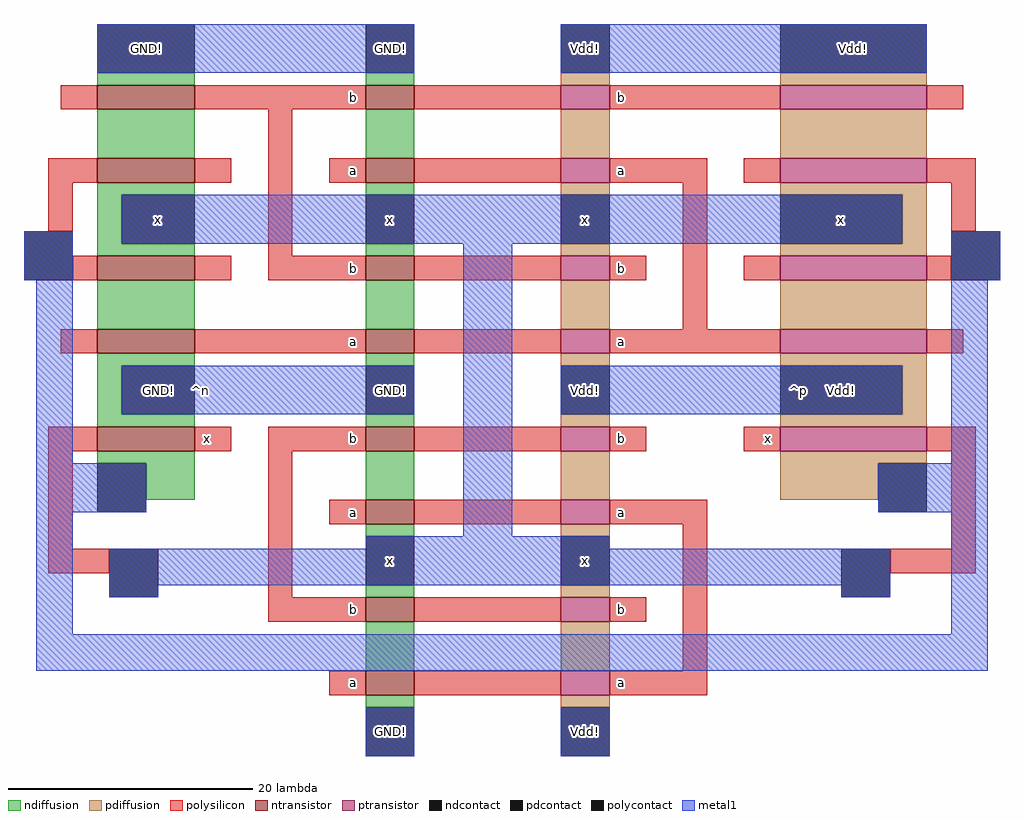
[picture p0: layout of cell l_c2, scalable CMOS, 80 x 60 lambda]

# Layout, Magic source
magic
tech scmos
<< ndiffusion >>
rect -19 68 -11 69
rect 3 68 7 69
rect -19 62 -11 66
rect -19 59 -11 60
rect -19 55 -17 59
rect -19 54 -11 55
rect 3 62 7 66
rect 3 59 7 60
rect 3 54 7 55
rect -19 48 -11 52
rect 3 48 7 52
rect -19 45 -11 46
rect -19 41 -17 45
rect -19 40 -11 41
rect 3 45 7 46
rect 3 40 7 41
rect -19 37 -11 38
rect -15 34 -11 37
rect 3 34 7 38
rect 3 31 7 32
rect 3 26 7 27
rect 3 20 7 24
rect 3 17 7 18
<< pdiffusion >>
rect 19 68 23 69
rect 37 68 49 69
rect 19 62 23 66
rect 37 62 49 66
rect 19 59 23 60
rect 19 54 23 55
rect 19 48 23 52
rect 37 59 49 60
rect 47 55 49 59
rect 37 54 49 55
rect 37 48 49 52
rect 19 45 23 46
rect 19 40 23 41
rect 37 45 49 46
rect 47 41 49 45
rect 37 40 49 41
rect 19 34 23 38
rect 37 37 49 38
rect 37 34 45 37
rect 19 31 23 32
rect 19 26 23 27
rect 19 20 23 24
rect 19 17 23 18
<< ntransistor >>
rect -19 66 -11 68
rect 3 66 7 68
rect -19 60 -11 62
rect 3 60 7 62
rect -19 52 -11 54
rect 3 52 7 54
rect -19 46 -11 48
rect 3 46 7 48
rect -19 38 -11 40
rect 3 38 7 40
rect 3 32 7 34
rect 3 24 7 26
rect 3 18 7 20
<< ptransistor >>
rect 19 66 23 68
rect 37 66 49 68
rect 19 60 23 62
rect 37 60 49 62
rect 19 52 23 54
rect 37 52 49 54
rect 19 46 23 48
rect 37 46 49 48
rect 19 38 23 40
rect 37 38 49 40
rect 19 32 23 34
rect 19 24 23 26
rect 19 18 23 20
<< polysilicon >>
rect -22 66 -19 68
rect -11 66 3 68
rect 7 66 19 68
rect 23 66 37 68
rect 49 66 52 68
rect -23 60 -19 62
rect -11 60 -8 62
rect -23 56 -21 60
rect -5 54 -3 66
rect 0 60 3 62
rect 7 60 19 62
rect 23 60 31 62
rect 34 60 37 62
rect 49 60 53 62
rect -21 52 -19 54
rect -11 52 -8 54
rect -5 52 3 54
rect 7 52 19 54
rect 23 52 26 54
rect 29 48 31 60
rect 51 56 53 60
rect 34 52 37 54
rect 49 52 51 54
rect -22 46 -19 48
rect -11 46 3 48
rect 7 46 19 48
rect 23 46 37 48
rect 49 46 52 48
rect -23 38 -19 40
rect -11 38 -8 40
rect -5 38 3 40
rect 7 38 19 40
rect 23 38 26 40
rect 34 38 37 40
rect 49 38 53 40
rect -23 30 -21 38
rect -23 28 -18 30
rect -5 26 -3 38
rect 0 32 3 34
rect 7 32 19 34
rect 23 32 31 34
rect -5 24 3 26
rect 7 24 19 26
rect 23 24 26 26
rect 29 20 31 32
rect 51 30 53 38
rect 46 28 53 30
rect 0 18 3 20
rect 7 18 19 20
rect 23 18 31 20
<< ndcontact >>
rect -19 69 -11 73
rect 3 69 7 73
rect -17 55 -11 59
rect 3 55 7 59
rect -17 41 -11 45
rect 3 41 7 45
rect -19 33 -15 37
rect 3 27 7 31
rect 3 13 7 17
<< pdcontact >>
rect 19 69 23 73
rect 37 69 49 73
rect 19 55 23 59
rect 37 55 47 59
rect 19 41 23 45
rect 37 41 47 45
rect 45 33 49 37
rect 19 27 23 31
rect 19 13 23 17
<< polycontact >>
rect -25 52 -21 56
rect 51 52 55 56
rect -18 26 -14 30
rect 42 26 46 30
<< metal1 >>
rect -19 69 7 73
rect 19 69 49 73
rect -25 52 -21 56
rect -17 55 47 59
rect -24 37 -21 52
rect -17 41 7 45
rect -24 33 -15 37
rect -24 23 -21 33
rect 11 31 15 55
rect 51 52 55 56
rect 19 41 47 45
rect 51 37 54 52
rect 45 33 54 37
rect 3 30 23 31
rect -18 27 46 30
rect -18 26 -14 27
rect 42 26 46 27
rect 51 23 54 33
rect -24 20 54 23
rect 3 13 7 17
rect 19 13 23 17
<< labels >>
rlabel polysilicon 2 39 2 39 3 b
rlabel polysilicon 2 53 2 53 3 b
rlabel polysilicon 2 67 2 67 3 b
rlabel polysilicon 2 25 2 25 3 b
rlabel polysilicon 2 61 2 61 3 a
rlabel polysilicon 2 47 2 47 3 a
rlabel polysilicon 2 19 2 19 3 a
rlabel polysilicon 2 33 2 33 3 a
rlabel polysilicon 24 39 24 39 3 b
rlabel polysilicon 24 53 24 53 3 b
rlabel polysilicon 24 67 24 67 3 b
rlabel polysilicon 24 25 24 25 3 b
rlabel polysilicon 24 61 24 61 3 a
rlabel polysilicon 24 47 24 47 3 a
rlabel polysilicon 24 19 24 19 3 a
rlabel polysilicon 24 33 24 33 3 a
rlabel polysilicon 36 39 36 39 5 x
rlabel polysilicon -10 39 -10 39 5 x
rlabel space -25 12 4 74 7 ^n
rlabel space 22 12 55 74 3 ^p
rlabel ndcontact 5 71 5 71 5 GND!
rlabel ndcontact 5 15 5 15 1 GND!
rlabel ndcontact 5 57 5 57 1 x
rlabel ndcontact 5 29 5 29 1 x
rlabel ndcontact 5 43 5 43 1 GND!
rlabel pdcontact 21 15 21 15 1 Vdd!
rlabel pdcontact 21 71 21 71 5 Vdd!
rlabel pdcontact 21 57 21 57 1 x
rlabel pdcontact 21 29 21 29 1 x
rlabel pdcontact 21 43 21 43 1 Vdd!
rlabel pdcontact 42 43 42 43 1 Vdd!
rlabel pdcontact 42 57 42 57 1 x
rlabel pdcontact 43 71 43 71 5 Vdd!
rlabel ndcontact -15 71 -15 71 5 GND!
rlabel ndcontact -14 43 -14 43 1 GND!
rlabel ndcontact -14 57 -14 57 1 x
<< end >>
